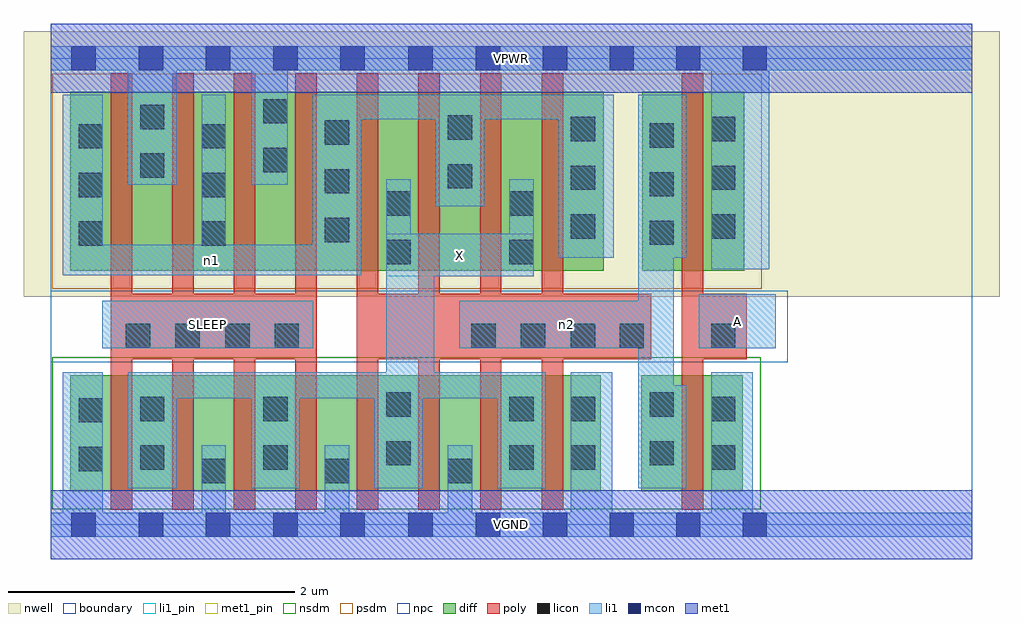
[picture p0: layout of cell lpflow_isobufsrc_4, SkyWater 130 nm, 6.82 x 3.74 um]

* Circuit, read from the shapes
.subckt lpflow_isobufsrc_4 A SLEEP VGND VPWR X n1 n2
XM1 X SLEEP VGND VSUBS sky130_fd_pr__nfet_01v8 w=0.81 l=0.15 m=4
XM2 X n2 VGND VSUBS sky130_fd_pr__nfet_01v8 w=0.81 l=0.15 m=4
XM3 VGND A n2 VSUBS sky130_fd_pr__nfet_01v8 w=0.81 l=0.15
XM4 VPWR SLEEP n1 n3 sky130_fd_pr__pfet_01v8 w=1.25 l=0.15 m=4
XM5 X n2 n1 n3 sky130_fd_pr__pfet_01v8 w=1.25 l=0.15 m=4
XM6 VPWR A n2 n3 sky130_fd_pr__pfet_01v8 w=1.25 l=0.15
.ends

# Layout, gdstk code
import gdstk
lib = gdstk.Library(unit=1e-6, precision=1e-09)
def R(c, l, rs):  # rectangles x0, y0, x1, y1
    for r in rs: c.add(gdstk.rectangle(r[:2], r[2:], *l))
def A(c, l, x, y, w, h, nx, ny, dx, dy):  # array of equal rectangles
    R(c, l, [(x+i*dx, y+j*dy, x+i*dx+w, y+j*dy+h) for i in range(nx) for j in range(ny)])
nwell = (64, 20)
diff = (65, 20)
poly = (66, 20)
licon = (66, 44)
li1_pin = (67, 16)
li1 = (67, 20)
mcon = (67, 44)
met1_pin = (68, 16)
met1 = (68, 20)
nsdm = (93, 44)
psdm = (94, 20)
npc = (95, 20)
boundary = (235, 4)

lpflow_isobufsrc_4 = lib.new_cell('lpflow_isobufsrc_4')
R(lpflow_isobufsrc_4, nwell, [(-0.19,1.595,6.63,3.45), (0,1.595,6.44,3.45)])
R(lpflow_isobufsrc_4, diff, [(0.135,0.235,3.845,1.045), (4.125,0.235,4.835,1.045), (0.135,1.775,3.865,3.025), (4.135,1.775,4.845,3.025)])
A(lpflow_isobufsrc_4, poly, 0.42, 0.105, 0.15, 3.05, 8, 1, 0.43, 0)
R(lpflow_isobufsrc_4, poly, [(4.41,0.105,4.56,3.155), (0.42,1.155,1.86,1.615), (2.14,1.155,4.195,1.615), (4.41,1.155,4.865,1.615)])
A(lpflow_isobufsrc_4, licon, 1.055, 0.29, 0.17, 0.17, 3, 1, 0.86, 0)
A(lpflow_isobufsrc_4, licon, 0.195, 1.95, 0.17, 0.17, 1, 3, 0, 0.34)
A(lpflow_isobufsrc_4, licon, 1.055, 1.95, 0.17, 0.17, 1, 3, 0, 0.34)
A(lpflow_isobufsrc_4, licon, 4.185, 1.955, 0.17, 0.17, 1, 3, 0, 0.34)
A(lpflow_isobufsrc_4, licon, 1.915, 1.975, 0.17, 0.17, 1, 3, 0, 0.34)
A(lpflow_isobufsrc_4, licon, 3.635, 2, 0.17, 0.17, 1, 3, 0, 0.34)
A(lpflow_isobufsrc_4, licon, 4.615, 2, 0.17, 0.17, 1, 3, 0, 0.34)
R(lpflow_isobufsrc_4, licon, [(0.195,0.375,0.365,0.545), (0.625,0.385,0.795,0.555), (1.485,0.385,1.655,0.555), (3.205,0.385,3.375,0.555), (3.635,0.385,3.805,0.555), (4.615,0.385,4.785,0.555), (2.345,0.415,2.515,0.585), (4.185,0.415,4.355,0.585), (0.195,0.715,0.365,0.885), (0.625,0.725,0.795,0.895), (1.485,0.725,1.655,0.895), (3.205,0.725,3.375,0.895), (3.635,0.725,3.805,0.895), (4.615,0.725,4.785,0.895), (2.345,0.755,2.515,0.925), (4.185,0.755,4.355,0.925), (0.525,1.235,0.695,1.405), (0.87,1.235,1.04,1.405), (1.22,1.235,1.39,1.405), (1.565,1.235,1.735,1.405), (2.94,1.235,3.11,1.405), (3.285,1.235,3.455,1.405), (3.635,1.235,3.805,1.405), (3.975,1.235,4.145,1.405), (4.615,1.235,4.785,1.405), (2.345,1.82,2.515,1.99), (3.205,1.82,3.375,1.99), (2.345,2.16,2.515,2.33), (3.205,2.16,3.375,2.33), (2.775,2.35,2.945,2.52), (0.625,2.425,0.795,2.595), (1.485,2.465,1.655,2.635), (2.775,2.69,2.945,2.86), (0.625,2.765,0.795,2.935), (1.485,2.805,1.655,2.975)])
R(lpflow_isobufsrc_4, li1_pin, [(0.36,1.235,1.835,1.565), (4.53,1.235,5.065,1.61), (2.345,1.735,3.375,2.035)])
A(lpflow_isobufsrc_4, li1, 1.055, -0.085, 0.17, 0.64, 3, 1, 0.86, 0)
A(lpflow_isobufsrc_4, li1, 0.54, 0.255, 0.34, 0.81, 4, 1, 0.86, 0)
R(lpflow_isobufsrc_4, li1, [(0,-0.085,6.44,0.085), (0.085,-0.085,0.365,1.065), (3.635,-0.085,3.925,1.065), (4.615,-0.085,4.905,1.065), (2.345,0.255,2.515,2.415), (4.105,0.255,4.355,3.005), (4.105,0.255,4.44,0.975), (0.54,0.885,3.46,1.065), (2.345,0.885,2.68,2.035), (0.36,1.235,1.835,1.565), (2.855,1.235,4.355,1.565), (4.53,1.235,5.065,1.61), (2.345,1.735,3.375,2.035), (3.205,1.735,3.375,2.415), (0.085,1.745,2.17,1.955), (0.085,1.745,0.365,3.005), (1.055,1.745,1.225,3.005), (1.83,1.745,2.17,3.005), (4.615,1.785,5.02,3.345), (3.55,1.865,3.935,3.005), (4.105,1.865,4.44,3.005), (2.69,2.225,3.03,3.005), (0.54,2.375,0.88,3.345), (1.4,2.375,1.655,3.345), (1.83,2.835,3.935,3.005), (0,3.175,6.44,3.345)])
A(lpflow_isobufsrc_4, mcon, 0.145, -0.085, 0.17, 0.17, 5, 2, 0.47, 3.26)
A(lpflow_isobufsrc_4, mcon, 2.5, -0.085, 0.17, 0.17, 3, 2, 0.47, 3.26)
A(lpflow_isobufsrc_4, mcon, 3.905, -0.085, 0.17, 0.17, 3, 2, 0.465, 3.26)
R(lpflow_isobufsrc_4, met1_pin, [(0,-0.24,6.44,0.24), (0,3.02,6.44,3.5)])
R(lpflow_isobufsrc_4, met1, [(0,-0.24,6.44,0.24), (0,3.02,6.44,3.5)])
R(lpflow_isobufsrc_4, nsdm, [(0.01,0.11,4.96,1.17)])
R(lpflow_isobufsrc_4, psdm, [(0.01,1.65,4.97,3.15)])
R(lpflow_isobufsrc_4, npc, [(0,1.135,5.15,1.635)])
R(lpflow_isobufsrc_4, boundary, [(0,0,6.44,3.26)])
lpflow_isobufsrc_4.add(gdstk.Label('A', (4.797,1.422), layer=67, texttype=5))
lpflow_isobufsrc_4.add(gdstk.Label('SLEEP', (1.097,1.4), layer=67, texttype=5))
lpflow_isobufsrc_4.add(gdstk.Label('X', (2.86,1.885), layer=67, texttype=5))
lpflow_isobufsrc_4.add(gdstk.Label('n1', (1.127,1.85), layer=67, texttype=5))
lpflow_isobufsrc_4.add(gdstk.Label('n2', (3.605,1.4), layer=67, texttype=5))
lpflow_isobufsrc_4.add(gdstk.Label('VPWR', (3.22,3.26), layer=68, texttype=5))
lpflow_isobufsrc_4.add(gdstk.Label('VGND', (3.22,0), layer=68, texttype=5))
lpflow_isobufsrc_4.add(gdstk.Label('A', (4.797,1.422), layer=67, texttype=16))
lpflow_isobufsrc_4.add(gdstk.Label('SLEEP', (1.097,1.4), layer=67, texttype=16))
lpflow_isobufsrc_4.add(gdstk.Label('X', (2.86,1.885), layer=67, texttype=16))
lpflow_isobufsrc_4.add(gdstk.Label('VPWR', (3.22,3.26), layer=68, texttype=16))
lpflow_isobufsrc_4.add(gdstk.Label('VGND', (3.22,0), layer=68, texttype=16))

lib.write_gds('lpflow_isobufsrc_4.gds')
